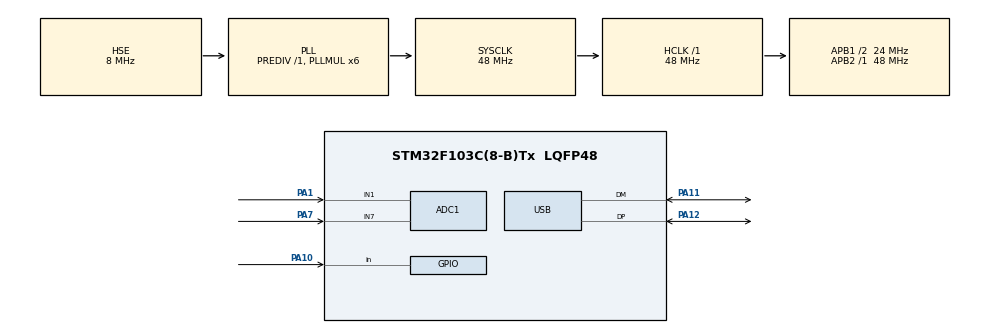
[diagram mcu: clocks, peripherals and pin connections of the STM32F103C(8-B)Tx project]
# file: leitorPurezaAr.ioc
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ADC1.Channel-0\#ChannelRegularConversion=ADC_CHANNEL_1
ADC1.NbrOfConversionFlag=1
ADC1.Rank-0\#ChannelRegularConversion=1
ADC1.SamplingTime-0\#ChannelRegularConversion=ADC_SAMPLETIME_1CYCLE_5
ADC1.master=1
Mcu.Family=STM32F1
Mcu.Name=STM32F103C(8-B)Tx
Mcu.Package=LQFP48
NVIC.PriorityGroup=NVIC_PRIORITYGROUP_4
NVIC.USB_LP_CAN1_RX0_IRQn=true\:0\:0\:false\:false\:true\:false\:true
PA1.Signal=ADCx_IN1
PA10.GPIO_PuPd=GPIO_PULLUP
PA10.Signal=GPIO_Input
PA11.Mode=Device
PA11.Signal=USB_DM
PA12.Mode=Device
PA12.Signal=USB_DP
PA13.Mode=Serial_Wire
PA13.Signal=SYS_JTMS-SWDIO
PA14.Mode=Serial_Wire
PA14.Signal=SYS_JTCK-SWCLK
PA7.Signal=ADCx_IN7
PD0-OSC_IN.Mode=HSE-External-Oscillator
PD0-OSC_IN.Signal=RCC_OSC_IN
PD1-OSC_OUT.Mode=HSE-External-Oscillator
PD1-OSC_OUT.Signal=RCC_OSC_OUT
ProjectManager.HeapSize=0x200
ProjectManager.StackSize=0x400
ProjectManager.TargetToolchain=STM32CubeIDE
RCC.ADCPresc=RCC_ADCPCLK2_DIV4
RCC.AHBFreq_Value=48000000
RCC.APB1CLKDivider=RCC_HCLK_DIV2
RCC.APB1Freq_Value=24000000
RCC.APB1TimFreq_Value=48000000
RCC.APB2Freq_Value=48000000
RCC.APB2TimFreq_Value=48000000
RCC.HCLKFreq_Value=48000000
RCC.PLLMUL=RCC_PLL_MUL6
RCC.SYSCLKFreq_VALUE=48000000
RCC.SYSCLKSource=RCC_SYSCLKSOURCE_PLLCLK
RCC.USBFreq_Value=48000000
SH.ADCx_IN1.0=ADC1_IN1,IN1
SH.ADCx_IN7.0=ADC1_IN7,IN7
USB_DEVICE.CLASS_NAME_FS=CDC
USB_DEVICE.VirtualMode=Cdc
USB_DEVICE.VirtualModeFS=Cdc_FS
VP_USB_DEVICE_VS_USB_DEVICE_CDC_FS.Mode=CDC_FS
board=custom

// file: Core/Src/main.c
/* USER CODE BEGIN Header */
/**
 ******************************************************************************
 * @file           : main.c
 * @brief          : Main program body
 ******************************************************************************
 * @attention
 *
 * <h2><center>&copy; Copyright (c) 2026 STMicroelectronics.
 * All rights reserved.</center></h2>
 *
 * This software component is licensed by ST under BSD 3-Clause license,
 * the "License"; You may not use this file except in compliance with the
 * License. You may obtain a copy of the License at:
 *                        opensource.org/licenses/BSD-3-Clause
 *
 ******************************************************************************
 */
/* USER CODE END Header */
#include "main.h"
#include "usb_device.h"

/* USER CODE BEGIN Includes */
#include "usbd_cdc.h"
#include <stdio.h>
#include <string.h>
#include <stdbool.h>
/* USER CODE END Includes */

/* USER CODE BEGIN PD */
extern USBD_HandleTypeDef hUsbDeviceFS;
#define FILTER_SIZE 4
#define ADC_SAMPLES 32 // tem isso pq o nosso trimpot tem mt ruido
/* USER CODE END PD */

ADC_HandleTypeDef hadc1;

/* USER CODE BEGIN PV */
uint16_t varPotValue;
uint16_t amostras[FILTER_SIZE];
uint8_t indice = 0;
/* USER CODE END PV */

void SystemClock_Config(void);
static void MX_GPIO_Init(void);
static void MX_ADC1_Init(void);

/* USER CODE BEGIN 0 */
uint8_t CDC_Transmit(uint8_t *buffer, uint16_t length) {
	USBD_CDC_HandleTypeDef *hcdc =
			(USBD_CDC_HandleTypeDef*) hUsbDeviceFS.pClassData;

	if (hcdc == NULL)
		return USBD_FAIL;

	while (hcdc->TxState != 0)
		;

	USBD_CDC_SetTxBuffer(&hUsbDeviceFS, buffer, length);

	return USBD_CDC_TransmitPacket(&hUsbDeviceFS);
}

uint16_t MediaMovel(uint16_t novaLeitura) {
	bool inicializado = false;
	uint32_t soma = 0;

	if (!inicializado) {
		for (int i = 0; i < FILTER_SIZE; i++) {
			amostras[i] = novaLeitura;
		}

		inicializado = true;
	} else {
		amostras[indice] = novaLeitura;
		indice = (indice + 1) % FILTER_SIZE;
	}

	for (int i = 0; i < FILTER_SIZE; i++) {
		soma += amostras[i];
	}

	return soma / FILTER_SIZE;
}
uint16_t ConverterConcentracao(uint16_t adc) {
	return ((uint32_t) adc * 1000) / 4095;
}
uint16_t LerADCMedio(void) {
	uint32_t soma = 0;

	for (int i = 0; i < ADC_SAMPLES; i++) {
		HAL_ADC_Start(&hadc1);
		HAL_ADC_PollForConversion(&hadc1, 100);
		soma += HAL_ADC_GetValue(&hadc1);
		HAL_ADC_Stop(&hadc1);
	}

	return soma / ADC_SAMPLES;
}
/* USER CODE END 0 */

int main(void)
{

  /* MCU Configuration--------------------------------------------------------*/

  /* Reset of all peripherals, Initializes the Flash interface and the Systick. */
  HAL_Init();

  /* Configure the system clock */
  SystemClock_Config();

  /* Initialize all configured peripherals */
  MX_GPIO_Init();
  MX_USB_DEVICE_Init();
  MX_ADC1_Init();
  HAL_ADCEx_Calibration_Start(&hadc1);
  /* USER CODE BEGIN 2 */
	HAL_Delay(10000);
  /* USER CODE END 2 */

  /* Infinite loop */
  /* USER CODE BEGIN WHILE */
	while (1) {
		uint16_t adc = LerADCMedio();
		uint16_t concentracao = ConverterConcentracao(adc);

		bool filtroAtivo = HAL_GPIO_ReadPin(GPIOA, GPIO_PIN_10)
				== GPIO_PIN_RESET;

		uint16_t valor;

		if (filtroAtivo) {
			valor = MediaMovel(concentracao);
		} else {
			valor = concentracao;
		}

		char buffer[32];

		sprintf(buffer, "%u;%u\r\n", valor, filtroAtivo ? 1 : 0);

		CDC_Transmit((uint8_t*) buffer, strlen(buffer));

		HAL_Delay(5000);
    /* USER CODE END WHILE */

	}
}

void SystemClock_Config(void)
{
  RCC_OscInitTypeDef RCC_OscInitStruct = {0};
  RCC_ClkInitTypeDef RCC_ClkInitStruct = {0};
  RCC_PeriphCLKInitTypeDef PeriphClkInit = {0};

  /** Initializes the RCC Oscillators according to the specified parameters
  * in the RCC_OscInitTypeDef structure.
  */
  RCC_OscInitStruct.OscillatorType = RCC_OSCILLATORTYPE_HSE;
  RCC_OscInitStruct.HSEState = RCC_HSE_ON;
  RCC_OscInitStruct.HSEPredivValue = RCC_HSE_PREDIV_DIV1;
  RCC_OscInitStruct.HSIState = RCC_HSI_ON;
  RCC_OscInitStruct.PLL.PLLState = RCC_PLL_ON;
  RCC_OscInitStruct.PLL.PLLSource = RCC_PLLSOURCE_HSE;
  RCC_OscInitStruct.PLL.PLLMUL = RCC_PLL_MUL6;
  if (HAL_RCC_OscConfig(&RCC_OscInitStruct) != HAL_OK)
  {
    Error_Handler();
  }
  /** Initializes the CPU, AHB and APB buses clocks
  */
  RCC_ClkInitStruct.ClockType = RCC_CLOCKTYPE_HCLK|RCC_CLOCKTYPE_SYSCLK
                              |RCC_CLOCKTYPE_PCLK1|RCC_CLOCKTYPE_PCLK2;
  RCC_ClkInitStruct.SYSCLKSource = RCC_SYSCLKSOURCE_PLLCLK;
  RCC_ClkInitStruct.AHBCLKDivider = RCC_SYSCLK_DIV1;
  RCC_ClkInitStruct.APB1CLKDivider = RCC_HCLK_DIV2;
  RCC_ClkInitStruct.APB2CLKDivider = RCC_HCLK_DIV1;

  if (HAL_RCC_ClockConfig(&RCC_ClkInitStruct, FLASH_LATENCY_1) != HAL_OK)
  {
    Error_Handler();
  }
  PeriphClkInit.PeriphClockSelection = RCC_PERIPHCLK_ADC|RCC_PERIPHCLK_USB;
  PeriphClkInit.AdcClockSelection = RCC_ADCPCLK2_DIV4;
  PeriphClkInit.UsbClockSelection = RCC_USBCLKSOURCE_PLL;
  if (HAL_RCCEx_PeriphCLKConfig(&PeriphClkInit) != HAL_OK)
  {
    Error_Handler();
  }
}

static void MX_ADC1_Init(void)
{

  ADC_ChannelConfTypeDef sConfig = {0};

  /** Common config
  */
  hadc1.Instance = ADC1;
  hadc1.Init.ScanConvMode = ADC_SCAN_DISABLE;
  hadc1.Init.ContinuousConvMode = DISABLE;
  hadc1.Init.DiscontinuousConvMode = DISABLE;
  hadc1.Init.ExternalTrigConv = ADC_SOFTWARE_START;
  hadc1.Init.DataAlign = ADC_DATAALIGN_RIGHT;
  hadc1.Init.NbrOfConversion = 1;
  if (HAL_ADC_Init(&hadc1) != HAL_OK)
  {
    Error_Handler();
  }
  /** Configure Regular Channel
  */
  sConfig.Channel = ADC_CHANNEL_7;
  sConfig.Rank = ADC_REGULAR_RANK_1;
  sConfig.SamplingTime = ADC_SAMPLETIME_239CYCLES_5;
  if (HAL_ADC_ConfigChannel(&hadc1, &sConfig) != HAL_OK)
  {
    Error_Handler();
  }

}

static void MX_GPIO_Init(void)
{
  GPIO_InitTypeDef GPIO_InitStruct = {0};

  /* GPIO Ports Clock Enable */
  __HAL_RCC_GPIOD_CLK_ENABLE();
  __HAL_RCC_GPIOA_CLK_ENABLE();

  /*Configure GPIO pin : PA10 */
  GPIO_InitStruct.Pin = GPIO_PIN_10;
  GPIO_InitStruct.Mode = GPIO_MODE_INPUT;
  GPIO_InitStruct.Pull = GPIO_PULLUP;
  HAL_GPIO_Init(GPIOA, &GPIO_InitStruct);

}

void Error_Handler(void)
{
	__disable_irq();
	while (1) {
	}
}

/************************ (C) COPYRIGHT STMicroelectronics *****END OF FILE****/
